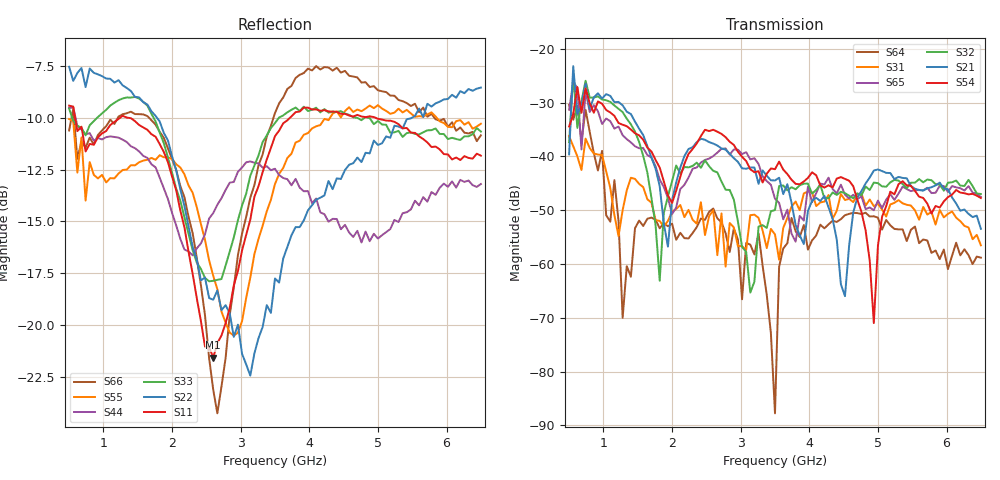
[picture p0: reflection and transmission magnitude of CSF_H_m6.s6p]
!Keysight Technologies,M9804A,MY58100912,A.14.10.03
!Date: Thursday, April 27, 2023 10:28:33
!Correction: S11(C  6-Port  )
!S12(C  6-Port  )
!S13(C  6-Port  )
!S14(C  6-Port  )
!S15(C  6-Port  )
!S16(C  6-Port  )
!S21(C  6-Port  )
!S22(C  6-Port  )
!S23(C  6-Port  )
!S24(C  6-Port  )
!S25(C  6-Port  )
!S26(C  6-Port  )
!S31(C  6-Port  )
!S32(C  6-Port  )
!S33(C  6-Port  )
!S34(C  6-Port  )
!S35(C  6-Port  )
!S36(C  6-Port  )
!S41(C  6-Port  )
!S42(C  6-Port  )
!S43(C  6-Port  )
!S44(C  6-Port  )
!S45(C  6-Port  )
!S46(C  6-Port  )
!S51(C  6-Port  )
!S52(C  6-Port  )
!S53(C  6-Port  )
!S54(C  6-Port  )
!S55(C  6-Port  )
!S56(C  6-Port  )
!S61(C  6-Port  )
!S62(C  6-Port  )
!S63(C  6-Port  )
!S64(C  6-Port  )
!S65(C  6-Port  )
!S66(C  6-Port  )
!S6P File: Measurement: :
# Hz S  RI  R 50
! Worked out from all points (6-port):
!   101 points, 500 MHz to 6.5 GHz, reference 50 ohm
!   strongest paths, dB at 500 MHz, 2 GHz, 3.5 GHz, 5 GHz, 6.5 GHz:
!     S54: -34.4, -48.7, -42.4, -56.6, -47.7
!     S21: -39.6, -48.1, -44.5, -42.4, -53.5
!     S32: -37.4, -44.6, -50.0, -45.0, -47.0
!     S65: -31.3, -50.7, -47.9, -48.2, -47.6
!     S31: -36.2, -50.3, -54.5, -48.8, -56.5
!     S64: -30.4, -52.5, -87.8, -51.4, -58.8
!   lowest |S11| = -21.6 dB at 2.6 GHz (marker M1), VSWR 1.18, Z = 42.6 + j2.05 ohm
!   |S11| at or under -10 dB: 588.1 MHz to 1.237 GHz (648.6 MHz wide, 71.1 % of centre); 1.39 GHz to 3.714 GHz (2.324 GHz wide, 91.1 % of centre); 4.975 GHz to end of sweep
